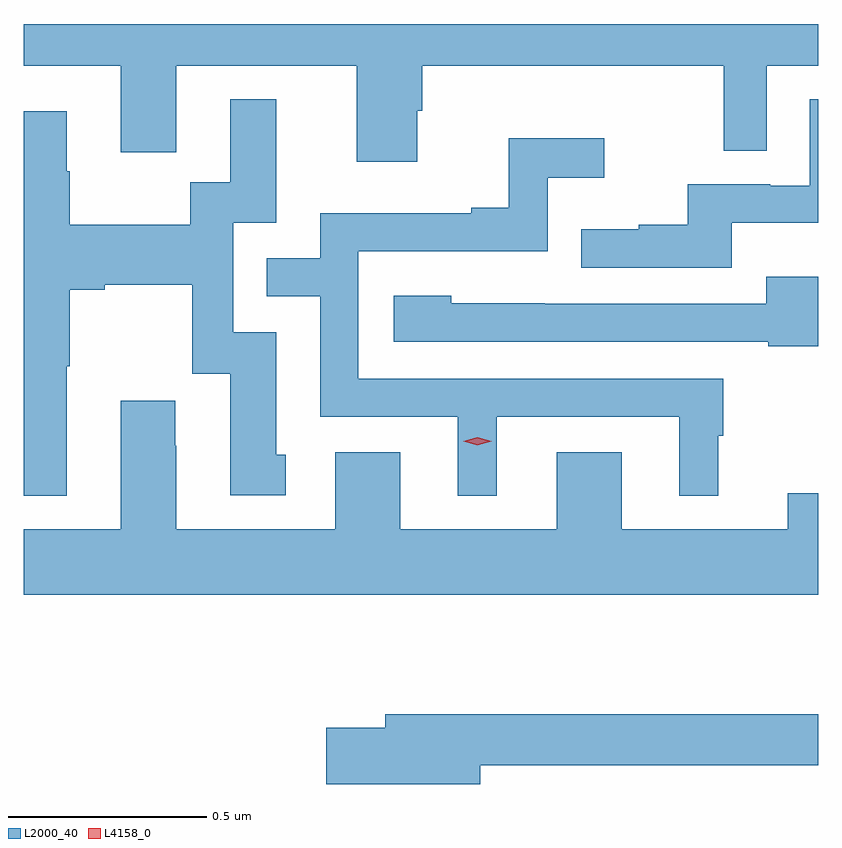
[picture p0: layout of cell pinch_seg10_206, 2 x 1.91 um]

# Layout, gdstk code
import gdstk
lib = gdstk.Library(unit=1e-6, precision=1e-09)
def P(c, l, *ps):  # polygons
    for p in ps: c.add(gdstk.Polygon(p, *l))
L2000_40 = (2000, 40)
L4158_0 = (4158, 0)

pinch_seg10_206 = lib.new_cell('pinch_seg10_206')
P(pinch_seg10_206, L2000_40, [(798.709,1253.583),(798.722,1253.583),(798.722,1253.696),(799.482,1253.696),(799.482,1253.482),(799.59,1253.482),(799.59,1253.696),(799.719,1253.696),(799.719,1253.801),(797.719,1253.801),(797.719,1253.696),(797.963,1253.696),(797.963,1253.478),(798.103,1253.478),(798.103,1253.696),(798.557,1253.696),(798.557,1253.454),(798.709,1253.454)],
  [(797.827,1252.939),(797.835,1252.939),(797.835,1253.132),(797.923,1253.132),(797.923,1253.144),(798.143,1253.144),(798.143,1252.92),(798.239,1252.92),(798.239,1252.614),(798.379,1252.614),(798.379,1252.716),(798.355,1252.716),(798.355,1253.025),(798.246,1253.025),(798.246,1253.301),(798.355,1253.301),(798.355,1253.611),(798.239,1253.611),(798.239,1253.402),(798.138,1253.402),(798.138,1253.296),(797.835,1253.296),(797.835,1253.43),(797.827,1253.43),(797.827,1253.581),(797.719,1253.581),(797.719,1252.613),(797.827,1252.613)],
  [(799.501,1253.3),(799.719,1253.3),(799.719,1253.611),(799.698,1253.611),(799.698,1253.394),(799.598,1253.394),(799.598,1253.397),(799.391,1253.397),(799.391,1253.296),(799.267,1253.296),(799.267,1253.284),(799.123,1253.284),(799.123,1253.187),(799.501,1253.187)],
  [(798.91,1252.812),(799.37,1252.812),(799.37,1252.613),(799.468,1252.613),(799.468,1252.764),(799.48,1252.764),(799.48,1252.908),(798.561,1252.908),(798.561,1253.229),(799.038,1253.229),(799.038,1253.414),(799.18,1253.414),(799.18,1253.513),(798.94,1253.513),(798.94,1253.338),(798.845,1253.338),(798.845,1253.325),(798.465,1253.325),(798.465,1253.211),(798.331,1253.211),(798.331,1253.115),(798.465,1253.115),(798.465,1252.812),(798.812,1252.812),(798.812,1252.613),(798.91,1252.613)],
  [(799.719,1253.164),(799.589,1253.164),(799.589,1253.097),(799.031,1253.097),(799.031,1253.098),(798.795,1253.098),(798.795,1253.116),(798.651,1253.116),(798.651,1253.001),(799.593,1253.001),(799.593,1252.989),(799.719,1252.989)],
  [(799.719,1252.619),(799.643,1252.619),(799.643,1252.528),(799.225,1252.528),(799.225,1252.723),(799.061,1252.723),(799.061,1252.528),(798.667,1252.528),(798.667,1252.723),(798.503,1252.723),(798.503,1252.528),(798.103,1252.528),(798.103,1252.739),(798.1,1252.739),(798.1,1252.852),(797.963,1252.852),(797.963,1252.528),(797.719,1252.528),(797.719,1252.364),(799.719,1252.364)],
  [(798.868,1251.934),(799.719,1251.934),(799.719,1252.063),(798.629,1252.063),(798.629,1252.029),(798.48,1252.029),(798.48,1251.887),(798.868,1251.887)])
P(pinch_seg10_206, L4158_0, [(798.861,1252.74),(798.825,1252.75),(798.825,1252.75),(798.825,1252.75),(798.861,1252.76),(798.897,1252.75),(798.897,1252.75),(798.897,1252.75)])

lib.write_gds('pinch_seg10_206.gds')
